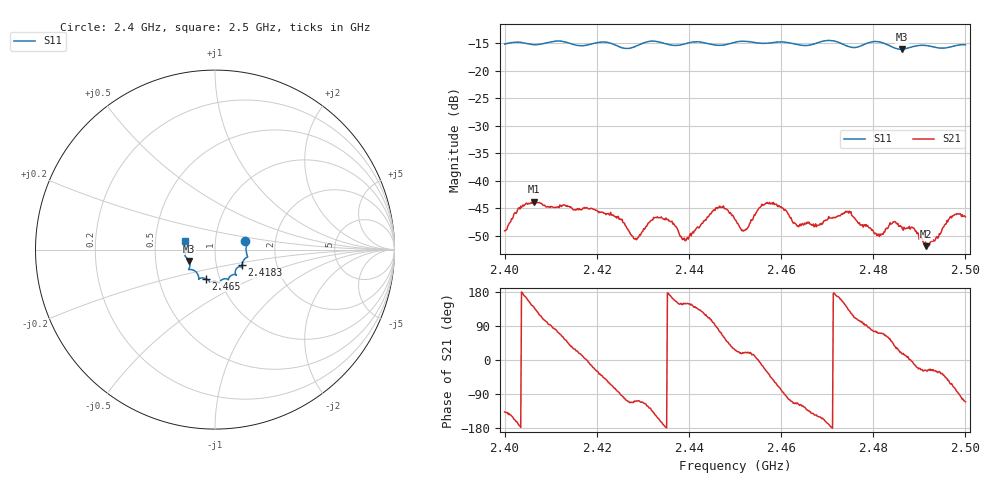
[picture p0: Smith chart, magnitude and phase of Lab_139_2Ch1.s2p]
# Hz S RI R 50
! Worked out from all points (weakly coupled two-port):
!   601 points, 2.4 GHz to 2.5 GHz, reference 50 ohm
!   highest |S21| = -43.79 dB at 2.4063 GHz (marker M1); lowest = -51.9 dB at 2.4915 GHz (marker M2)
!   lowest |S11| = -16.1 dB at 2.4862 GHz (marker M3), VSWR 1.37, Z = 37.2 - j4.84 ohm
!   |S11| at or under -10 dB: start of sweep to end of sweep
!   S12 and S22 are empty: the file has one direction only
!   S11 on the Smith chart (normalised r, x): 2.4 GHz: 1.40, +0.14; 2.4183 GHz: 1.33, -0.24; 2.465 GHz: 0.86, -0.28; 2.5 GHz: 0.71, +0.07
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2.4e9  0.1689 0.047  -0.00259 -0.0024  0 0  0 0
2.403333e9  0.1791 0.0316  -0.00552 -0.000682  0 0  0 0
2.406333e9  0.1728 0.00504  -0.00493 0.00418  0 0  0 0
2.416667e9  0.1546 -0.0684  0.00532 0.00124  0 0  0 0
2.418333e9  0.1499 -0.087  0.00551 -0.000711  0 0  0 0
2.425e9  0.1341 -0.0957  0.000122 -0.00454  0 0  0 0
2.4285e9  0.1128 -0.1238  -0.000973 -0.00279  0 0  0 0
2.433333e9  0.1176 -0.141  -0.00415 -0.00203  0 0  0 0
2.439e9  0.0783 -0.1566  -0.00257 0.0016  0 0  0 0
2.446333e9  0.0505 -0.1629  0.000783 0.00569  0 0  0 0
2.45e9  0.0264 -0.1802  0.00399 0.00197  0 0  0 0
2.452167e9  0.0212 -0.1841  0.00336 0.00117  0 0  0 0
2.457833e9  -0.0163 -0.1789  0.00431 -0.00444  0 0  0 0
2.465e9  -0.0524 -0.1615  -0.00225 -0.00331  0 0  0 0
2.466667e9  -0.0712 -0.1577  -0.00308 -0.00249  0 0  0 0
2.4745e9  -0.0975 -0.1357  -0.00367 0.00378  0 0  0 0
2.480833e9  -0.1476 -0.1106  0.000893 0.00306  0 0  0 0
2.483333e9  -0.141 -0.0963  0.00197 0.00332  0 0  0 0
2.486167e9  -0.1436 -0.0635  0.00367 0.00113  0 0  0 0
2.4915e9  -0.1668 -0.0316  0.00227 -0.00118  0 0  0 0
2.497167e9  -0.164 0.0286  0.00197 -0.0044  0 0  0 0
2.5e9  -0.1666 0.047  -0.00163 -0.00442  0 0  0 0
